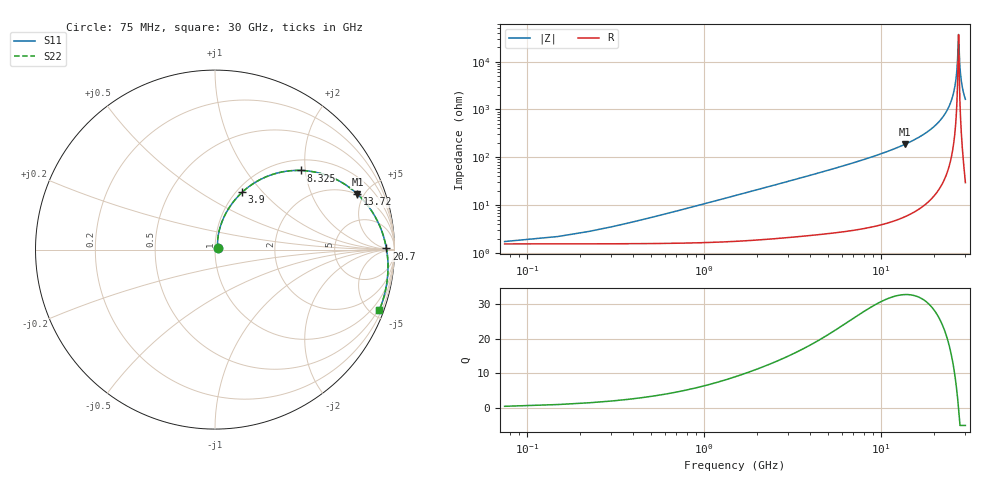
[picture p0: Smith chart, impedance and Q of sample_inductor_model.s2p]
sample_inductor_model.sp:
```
* WIDEBAND RFIC INDUCTOR MODEL WITH SUBSTRATE NETWORK
* Created using inductor_fit.py 1.2 from sample_inductor.s2p
* Fit band 0.075 to 24.975 GHz, 2 coil segment(s)
* Total element values:
*   Rs = 1.5422
*   Ls = 1.56788e-09
*   Rskin1 = 0.92157
*   Lskin1 = 4.77443e-11
*   Rskin2 = 10.1471
*   Lskin2 = 5.12003e-11
*   Cs = 2.5254e-14
*   Cox1 = 5.94992e-14
*   Rsi1 = 3532.93
*   Csi1 = 1.8323e-14
*   Cox2 = 5.94992e-14
*   Rsi2 = 3532.93
*   Csi2 = 1.8323e-14
*
.SUBCKT inductor_model p1 p2
* coil segment 1
Rs_1 p1 a1 0.771098
Ls_1 a1 b1 7.83941e-10
Rskin1_1 b1 d1 0.460785
Lskin1_1 b1 d1 2.38721e-11
Rskin2_1 d1 c1 5.07357
Lskin2_1 d1 c1 2.56002e-11
* coil segment 2
Rs_2 c1 a2 0.771098
Ls_2 a2 b2 7.83941e-10
Rskin1_2 b2 d2 0.460785
Lskin1_2 b2 d2 2.38721e-11
Rskin2_2 d2 p2 5.07357
Lskin2_2 d2 p2 2.56002e-11
Cs p1 p2 2.5254e-14
* substrate network at p1
Cox_n0 p1 s0 2.97496e-14
Rsi_n0 s0 0 7065.87
Csi_n0 s0 0 9.16151e-15
* substrate network at c1
Cox_n1 c1 s1 5.94992e-14
Rsi_n1 s1 0 3532.93
Csi_n1 s1 0 1.8323e-14
* substrate network at p2
Cox_n2 p2 s2 2.97496e-14
Rsi_n2 s2 0 7065.87
Csi_n2 s2 0 9.16151e-15
.ENDS
```
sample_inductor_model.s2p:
! Inductor model fitted by inductor_fit.py 1.2 from sample_inductor.s2p
#  Hz  S  RI  R  50
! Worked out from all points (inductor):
!   400 points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, 75 MHz to 30 GHz, reference 50 ohm
!   read as one part in series: L = 1.66 nH near 450 MHz
!   highest Q = 32.7 at 13.72 GHz (marker M1), where L = 2.18 nH
!   self-resonance near 27.38 GHz
!   S11 on the Smith chart (normalised r, x): 75 MHz: 1.03, +0.01; 3.9 GHz: 1.06, +0.78; 8.325 GHz: 1.23, +1.89; 13.72 GHz: 1.99, +4.48; 20.7 GHz: 43, +7; 30 GHz: 0.39, -5.56
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7.5e7  0.0151 0.00623  0.9846 -0.009  0.9846 -0.009  0.0151 0.00623
1.275e9  0.0266 0.1181  0.9597 -0.1354  0.9597 -0.1354  0.0266 0.1181
3.9e9  0.1519 0.3201  0.8313 -0.3563  0.8313 -0.3563  0.1519 0.3201
8.325e9  0.4772 0.4411  0.5035 -0.5148  0.5035 -0.5148  0.4772 0.4411
1.3725e10  0.7938 0.3089  0.1816 -0.4304  0.1816 -0.4304  0.7938 0.3089
1.5075e10  0.8448 0.2537  0.1287 -0.3875  0.1287 -0.3875  0.8448 0.2537
2.07e10  0.9551 0.00674  0.00866 -0.1936  0.00866 -0.1936  0.9551 0.00674
2.58e10  0.9556 -0.1973  -0.00472 -0.0411  -0.00472 -0.0411  0.9556 -0.1973
2.745e10  0.9431 -0.2557  0.00259 -0.000274  0.00259 -0.000274  0.9431 -0.2557
2.82e10  0.9359 -0.281  0.0072 0.0168  0.0072 0.0168  0.9359 -0.281
3e10  0.9155 -0.3384  0.0209 0.0542  0.0209 0.0542  0.9155 -0.3384
